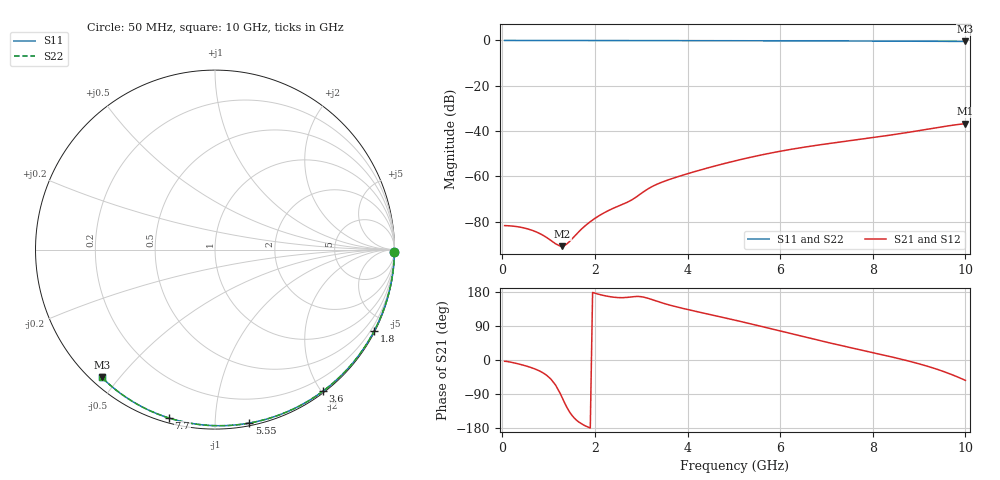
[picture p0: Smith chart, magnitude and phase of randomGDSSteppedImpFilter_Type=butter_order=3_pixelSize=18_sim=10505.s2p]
! freq	dB(S11)	phase(S11)	dB(S12)	phase(S12)
!  dB(S21)	phase(S21)	dB(S22)	phase(S22)
!S-par simulation data
#  GHz  S  DB  R 50
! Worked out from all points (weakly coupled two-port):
!   200 points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, 50 MHz to 10 GHz, reference 50 ohm
!   highest |S21| = -36.73 dB at 10 GHz (marker M1); lowest = -90.8 dB at 1.3 GHz (marker M2)
!   lowest |S11| = -0.4 dB at 10 GHz (marker M3), VSWR 39.64, Z = 1.52 - j22.5 ohm
!   |S11| at or under -10 dB: nowhere
!   |S22| runs from -0.4 to 0.0 dB; largest |S21 - S12| = 0
!   S11 on the Smith chart (normalised r, x): 50 MHz: open; 1.8 GHz: 0.04, -4.17; 3.6 GHz: 0.02, -2.01; 5.55 GHz: 0.02, -1.22; 7.7 GHz: 0.02, -0.76; 10 GHz: 0.03, -0.45
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0.05  -0.00 -0.8  -81.71 -3.4  -81.71 -3.4  -0.00 -0.8
0.65  -0.01 -9.9  -83.83 -21.1  -83.83 -21.1  -0.01 -9.9
1.3  -0.02 -19.6  -90.79 -101.1  -90.79 -101.1  -0.02 -19.6
1.75  -0.03 -26.3  -82.49 -171.2  -82.49 -171.2  -0.03 -26.3
1.8  -0.03 -27.0  -81.60 -174.3  -81.60 -174.3  -0.03 -27.0
1.9  -0.04 -28.5  -79.97 -179.5  -79.97 -179.5  -0.04 -28.5
2.05  -0.04 -30.7  -77.85 174.5  -77.85 174.5  -0.04 -30.7
2.25  -0.04 -33.6  -75.50 168.7  -75.50 168.7  -0.04 -33.6
2.8  -0.05 -41.5  -70.31 166.7  -70.31 166.7  -0.05 -41.5
3.15  -0.06 -46.5  -65.45 162.7  -65.45 162.7  -0.06 -46.5
3.4  -0.07 -50.0  -62.93 152.6  -62.93 152.6  -0.07 -50.0
3.6  -0.07 -52.8  -61.41 145.4  -61.41 145.4  -0.07 -52.8
4.3  -0.09 -62.4  -57.03 125.1  -57.03 125.1  -0.09 -62.4
5.05  -0.11 -72.4  -53.02 104.4  -53.02 104.4  -0.11 -72.4
5.55  -0.13 -78.8  -50.71 90.0  -50.71 90.0  -0.13 -78.8
6.1  -0.15 -85.8  -48.53 73.6  -48.53 73.6  -0.15 -85.8
6.7  -0.18 -93.3  -46.53 55.8  -46.53 55.8  -0.18 -93.3
7.7  -0.24 -105.3  -43.70 27.6  -43.70 27.6  -0.24 -105.3
8.35  -0.29 -112.9  -41.86 9.7  -41.86 9.7  -0.29 -112.9
9.2  -0.36 -122.6  -39.11 -17.2  -39.11 -17.2  -0.36 -122.6
9.7  -0.41 -128.2  -37.47 -38.2  -37.47 -38.2  -0.41 -128.2
10  -0.44 -131.5  -36.73 -53.8  -36.73 -53.8  -0.44 -131.5
